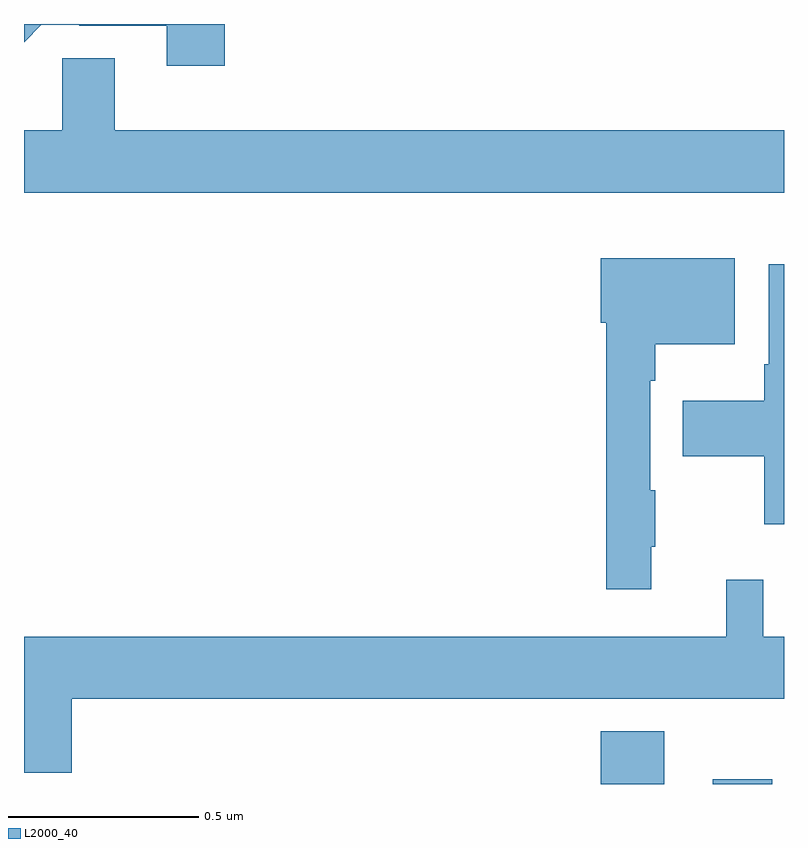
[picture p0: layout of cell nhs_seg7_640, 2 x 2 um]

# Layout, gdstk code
import gdstk
lib = gdstk.Library(unit=1e-6, precision=1e-09)
def R(c, l, rs):  # rectangles x0, y0, x1, y1
    for r in rs: c.add(gdstk.rectangle(r[:2], r[2:], *l))
def P(c, l, *ps):  # polygons
    for p in ps: c.add(gdstk.Polygon(p, *l))
L2000_40 = (2000, 40)

nhs_seg7_640 = lib.new_cell('nhs_seg7_640')
R(nhs_seg7_640, L2000_40, [(120.518,1059,120.685,1059.139), (120.813,1059,120.969,1059.013)])
P(nhs_seg7_640, L2000_40, [(119.528,1061),(119,1061),(119,1060.952),(119.046,1060.998),(119.146,1060.998),(119.146,1060.995),(119.375,1060.995),(119.375,1060.89),(119.528,1060.89)],
  [(121,1060.72),(119.239,1060.72),(119.239,1060.91),(119.1,1060.91),(119.1,1060.72),(119,1060.72),(119,1060.556),(121,1060.556)],
  [(120.65,1059.625),(120.661,1059.625),(120.661,1059.773),(120.648,1059.773),(120.648,1060.061),(120.661,1060.061),(120.661,1060.157),(120.871,1060.157),(120.871,1060.384),(120.518,1060.384),(120.518,1060.214),(120.532,1060.214),(120.532,1059.513),(120.65,1059.513)],
  [(121,1060.368),(120.96,1060.368),(120.96,1060.105),(120.948,1060.105),(120.948,1060.009),(120.733,1060.009),(120.733,1059.862),(120.948,1059.862),(120.948,1059.683),(121,1059.683)],
  [(119.126,1059.224),(121,1059.224),(121,1059.388),(120.945,1059.388),(120.945,1059.538),(120.848,1059.538),(120.848,1059.388),(119,1059.388),(119,1059.03),(119.126,1059.03)])

lib.write_gds('nhs_seg7_640.gds')
